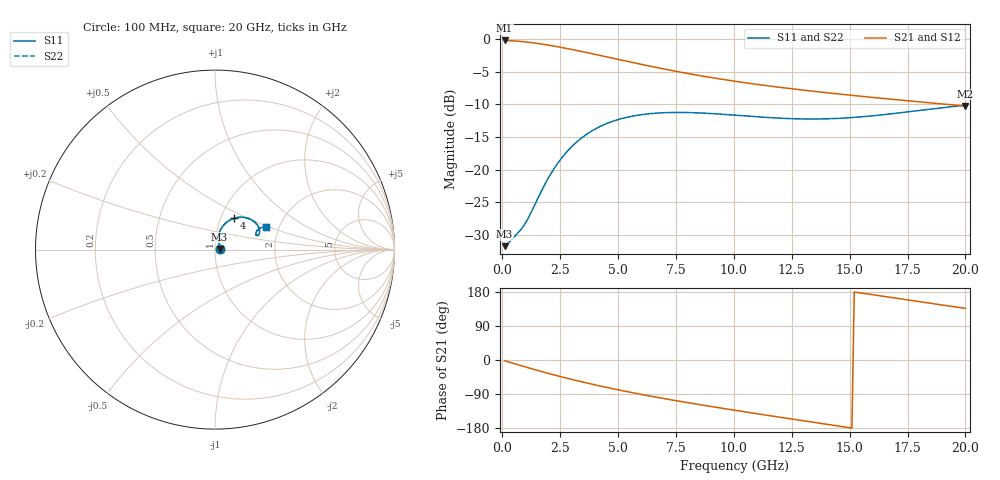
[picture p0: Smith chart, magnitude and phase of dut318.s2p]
! Touchstone file exported from HFSS 2024.1.0
!  File:  C:/UserFiles/LocalFiles/RDL_TSV_Batchsim/temp_RDL_TSV_318_1779628890.aedt
!  Generated:  09:37:37 PM May 24, 2026
!  Design:  RDL_TSV
!  Project:  temp_RDL_TSV_318_1779628890
!  Setup:  Setup1
!  Solution:  Sweep
! Variables:
!  dtsv = 8.83um
!  hbump = 3um
!  htsv = 91.66um
!  ldown = 696.41um
!  lrdl = 235.75um
!  p = 40
!  p1 = 41.72um
!  rhole = 10um
!  subl = 3032.23um
!  t = 450um
!  tdown = 2.78um
!  trdl = 3.5um
!  viad = 10um
!  wdown = 12.52um
!  wrdl = 22.75um
!  xbump = 18um
# GHz S MA R 50.000000
! Terminal data exported
! Port[1] = TM1_1_T1
! Port[2] = TM1_4_T1
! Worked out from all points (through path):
!   200 points, 100 MHz to 20 GHz, reference 50 ohm
!   highest |S21| = -0.23 dB at 100 MHz (marker M1); lowest = -10.3 dB at 20 GHz (marker M2)
!   group delay of S21, straight-line fit = 29.3 ps
!   lowest |S11| = -31.7 dB at 100 MHz (marker M3), VSWR 1.05, Z = 52.6 + j0.357 ohm
!   |S11| at or under -10 dB: start of sweep to end of sweep
!   |S22| runs from -31.7 to -10.2 dB; largest |S21 - S12| = 1.3e-14
!   S11 on the Smith chart (normalised r, x): 100 MHz: 1.05, +0.01; 4 GHz: 1.15, +0.42; 20 GHz: 1.71, +0.47
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0.1  0.02587 7.5  0.974 -1.9  0.974 -1.9  0.02587 7.5
! Gamma 0 0 0 0
! Port Impedance 50 0 50 0
0.5  0.03035 31.0  0.9665 -9.4  0.9665 -9.4  0.03043 31.0
0.9  0.03651 50.3  0.9533 -16.7  0.9533 -16.7  0.03653 50.0
1.2  0.04519 63.2  0.9404 -22.0  0.9404 -22.0  0.0451 63.0
1.8  0.07477 75.1  0.9084 -32.2  0.9084 -32.2  0.07463 75.0
2.2  0.09932 75.6  0.884 -38.8  0.884 -38.8  0.09911 75.5
2.6  0.1249 73.4  0.858 -45.1  0.858 -45.1  0.1245 73.2
3  0.1498 69.8  0.8311 -51.2  0.8311 -51.2  0.1494 69.6
3.5  0.1786 64.5  0.797 -58.6  0.797 -58.6  0.1781 64.3
4  0.2037 58.9  0.763 -65.6  0.763 -65.6  0.2031 58.7
4.7  0.2318 51.3  0.717 -74.9  0.717 -74.9  0.231 51.2
5.4  0.2517 44.4  0.6736 -83.7  0.6736 -83.7  0.2508 44.3
6.1  0.2644 38.3  0.6337 -92.0  0.6337 -92.0  0.2634 38.2
6.8  0.2713 33.1  0.5976 -99.8  0.5976 -99.8  0.2702 33.0
8.4  0.2718 24.3  0.5287 -116.6  0.5287 -116.6  0.2705 24.2
10.1  0.2605 19.3  0.4729 -133.2  0.4729 -133.2  0.259 19.2
11.7  0.2489 18.4  0.4324 -148.3  0.4324 -148.3  0.2473 18.3
13.4  0.2436 20.2  0.3982 -164.0  0.3982 -164.0  0.2421 20.2
15  0.2493 23.0  0.3714 -178.7  0.3714 -178.7  0.2478 23.0
16.7  0.2659 25.0  0.3467 165.8  0.3467 165.8  0.2644 25.1
18.4  0.2887 25.2  0.3249 150.5  0.3249 150.5  0.2873 25.2
20  0.311 23.7  0.3065 136.3  0.3065 136.3  0.3096 23.7
